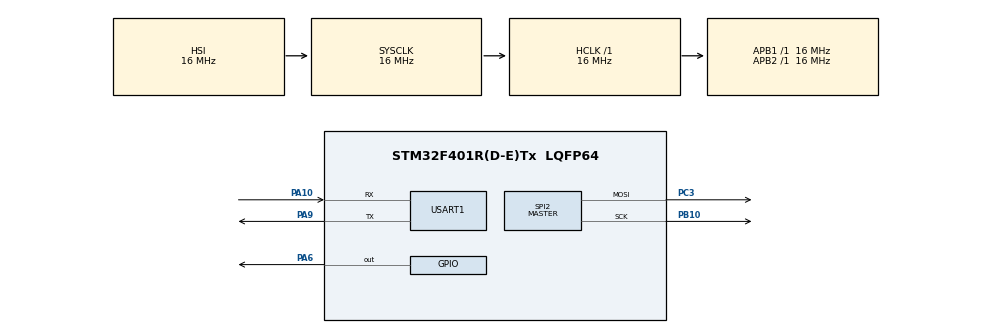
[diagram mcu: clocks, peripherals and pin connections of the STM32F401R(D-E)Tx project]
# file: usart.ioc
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Mcu.Family=STM32F4
Mcu.Name=STM32F401R(D-E)Tx
Mcu.Package=LQFP64
NVIC.PriorityGroup=NVIC_PRIORITYGROUP_4
NVIC.SPI2_IRQn=true\:0\:0\:false\:false\:true\:true\:true\:true
NVIC.USART1_IRQn=true\:0\:0\:false\:false\:true\:true\:true\:true
PA10.Mode=Asynchronous
PA10.Signal=USART1_RX
PA6.GPIO_PuPd=GPIO_PULLDOWN
PA6.Signal=GPIO_Output
PA9.Mode=Asynchronous
PA9.Signal=USART1_TX
PB10.Mode=TX_Only_Simplex_Unidirect_Master
PB10.Signal=SPI2_SCK
PC3.Mode=TX_Only_Simplex_Unidirect_Master
PC3.Signal=SPI2_MOSI
ProjectManager.HeapSize=0x200
ProjectManager.StackSize=0x400
ProjectManager.TargetToolchain=MDK-ARM V5.27
RCC.AHBFreq_Value=16000000
RCC.APB1Freq_Value=16000000
RCC.APB2Freq_Value=16000000
RCC.CortexFreq_Value=16000000
RCC.HSE_VALUE=25000000
RCC.HSI_VALUE=16000000
RCC.LSE_VALUE=32768
RCC.SYSCLKFreq_VALUE=16000000
RCC.VCOOutputFreq_Value=192000000
SPI2.Direction=SPI_DIRECTION_2LINES
SPI2.Mode=SPI_MODE_MASTER
SPI2.VirtualType=VM_MASTER
USART1.VirtualMode=VM_ASYNC
board=custom

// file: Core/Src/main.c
/* USER CODE BEGIN Header */
/**
  ******************************************************************************
  * @file           : main.c
  * @brief          : Main program body
  ******************************************************************************
  * @attention
  *
  * <h2><center>&copy; Copyright (c) 2022 STMicroelectronics.
  * All rights reserved.</center></h2>
  *
  * This software component is licensed by ST under BSD 3-Clause license,
  * the "License"; You may not use this file except in compliance with the
  * License. You may obtain a copy of the License at:
  *                        opensource.org/licenses/BSD-3-Clause
  *
  ******************************************************************************
  */
/* USER CODE END Header */
#include "main.h"

SPI_HandleTypeDef hspi2;

UART_HandleTypeDef huart1;

/* USER CODE BEGIN PV */
uint8_t rxBuffer;
/* USER CODE END PV */

void SystemClock_Config(void);
static void MX_GPIO_Init(void);
static void MX_USART1_UART_Init(void);
static void MX_SPI2_Init(void);
/* USER CODE BEGIN PFP */
void transmit(uint8_t add,uint8_t data){
	uint8_t tx_buffer[0];
	HAL_GPIO_WritePin(GPIOA,GPIO_PIN_6,0);
	tx_buffer[0]=add;
	HAL_SPI_Transmit(&hspi2,tx_buffer,1,0xffff);
	tx_buffer[0]=data;
	HAL_SPI_Transmit(&hspi2,tx_buffer,1,0xffff);
	HAL_GPIO_WritePin(GPIOA,GPIO_PIN_6,1);
}

void max7219_init(){
	transmit(0x09,0xff); // ENABLE ENCODER FOR ALL 7SEG
	transmit(0x0A,0x0F); // MAX INTENSITY
	transmit(0x0B,0x03); // SCAN 4 7SEG
	transmit(0x0C,0x01); // TURN ON
	transmit(0x0f,0x0); // NORMAL OPERATION
}

void HAL_UART_RxCpltCallback(UART_HandleTypeDef *huart)
{
	HAL_UART_Transmit(&huart1, &rxBuffer, sizeof(rxBuffer), HAL_MAX_DELAY);
	transmit(0x01,rxBuffer);
	HAL_UART_Receive_IT( &huart1, &rxBuffer, sizeof(rxBuffer));
}

/* USER CODE END PFP */

int main(void)
{

  /* MCU Configuration--------------------------------------------------------*/

  /* Reset of all peripherals, Initializes the Flash interface and the Systick. */
  HAL_Init();

  /* Configure the system clock */
  SystemClock_Config();

  /* Initialize all configured peripherals */
  MX_GPIO_Init();
  MX_USART1_UART_Init();
  MX_SPI2_Init();
  /* USER CODE BEGIN 2 */
	HAL_Delay(100);
	max7219_init();
	HAL_UART_Receive_IT( &huart1, &rxBuffer, sizeof(rxBuffer));
  /* USER CODE END 2 */

  /* Infinite loop */
  while (1)
  {

  }
}

void SystemClock_Config(void)
{
  RCC_OscInitTypeDef RCC_OscInitStruct = {0};
  RCC_ClkInitTypeDef RCC_ClkInitStruct = {0};

  /** Configure the main internal regulator output voltage
  */
  __HAL_RCC_PWR_CLK_ENABLE();
  __HAL_PWR_VOLTAGESCALING_CONFIG(PWR_REGULATOR_VOLTAGE_SCALE2);

  /** Initializes the RCC Oscillators according to the specified parameters
  * in the RCC_OscInitTypeDef structure.
  */
  RCC_OscInitStruct.OscillatorType = RCC_OSCILLATORTYPE_HSI;
  RCC_OscInitStruct.HSIState = RCC_HSI_ON;
  RCC_OscInitStruct.HSICalibrationValue = RCC_HSICALIBRATION_DEFAULT;
  RCC_OscInitStruct.PLL.PLLState = RCC_PLL_NONE;
  if (HAL_RCC_OscConfig(&RCC_OscInitStruct) != HAL_OK)
  {
    Error_Handler();
  }

  /** Initializes the CPU, AHB and APB buses clocks
  */
  RCC_ClkInitStruct.ClockType = RCC_CLOCKTYPE_HCLK|RCC_CLOCKTYPE_SYSCLK
                              |RCC_CLOCKTYPE_PCLK1|RCC_CLOCKTYPE_PCLK2;
  RCC_ClkInitStruct.SYSCLKSource = RCC_SYSCLKSOURCE_HSI;
  RCC_ClkInitStruct.AHBCLKDivider = RCC_SYSCLK_DIV1;
  RCC_ClkInitStruct.APB1CLKDivider = RCC_HCLK_DIV1;
  RCC_ClkInitStruct.APB2CLKDivider = RCC_HCLK_DIV1;

  if (HAL_RCC_ClockConfig(&RCC_ClkInitStruct, FLASH_LATENCY_0) != HAL_OK)
  {
    Error_Handler();
  }
}

static void MX_SPI2_Init(void)
{

  /* SPI2 parameter configuration*/
  hspi2.Instance = SPI2;
  hspi2.Init.Mode = SPI_MODE_MASTER;
  hspi2.Init.Direction = SPI_DIRECTION_2LINES;
  hspi2.Init.DataSize = SPI_DATASIZE_8BIT;
  hspi2.Init.CLKPolarity = SPI_POLARITY_LOW;
  hspi2.Init.CLKPhase = SPI_PHASE_1EDGE;
  hspi2.Init.NSS = SPI_NSS_SOFT;
  hspi2.Init.BaudRatePrescaler = SPI_BAUDRATEPRESCALER_2;
  hspi2.Init.FirstBit = SPI_FIRSTBIT_MSB;
  hspi2.Init.TIMode = SPI_TIMODE_DISABLE;
  hspi2.Init.CRCCalculation = SPI_CRCCALCULATION_DISABLE;
  hspi2.Init.CRCPolynomial = 10;
  if (HAL_SPI_Init(&hspi2) != HAL_OK)
  {
    Error_Handler();
  }

}

static void MX_USART1_UART_Init(void)
{

  huart1.Instance = USART1;
  huart1.Init.BaudRate = 115200;
  huart1.Init.WordLength = UART_WORDLENGTH_8B;
  huart1.Init.StopBits = UART_STOPBITS_1;
  huart1.Init.Parity = UART_PARITY_NONE;
  huart1.Init.Mode = UART_MODE_TX_RX;
  huart1.Init.HwFlowCtl = UART_HWCONTROL_NONE;
  huart1.Init.OverSampling = UART_OVERSAMPLING_16;
  if (HAL_UART_Init(&huart1) != HAL_OK)
  {
    Error_Handler();
  }

}

static void MX_GPIO_Init(void)
{
  GPIO_InitTypeDef GPIO_InitStruct = {0};

  /* GPIO Ports Clock Enable */
  __HAL_RCC_GPIOC_CLK_ENABLE();
  __HAL_RCC_GPIOA_CLK_ENABLE();
  __HAL_RCC_GPIOB_CLK_ENABLE();

  /*Configure GPIO pin Output Level */
  HAL_GPIO_WritePin(GPIOA, GPIO_PIN_6, GPIO_PIN_RESET);

  /*Configure GPIO pin : PA6 */
  GPIO_InitStruct.Pin = GPIO_PIN_6;
  GPIO_InitStruct.Mode = GPIO_MODE_OUTPUT_PP;
  GPIO_InitStruct.Pull = GPIO_PULLDOWN;
  GPIO_InitStruct.Speed = GPIO_SPEED_FREQ_LOW;
  HAL_GPIO_Init(GPIOA, &GPIO_InitStruct);

}

void Error_Handler(void)
{
  __disable_irq();
  while (1)
  {
  }
}
